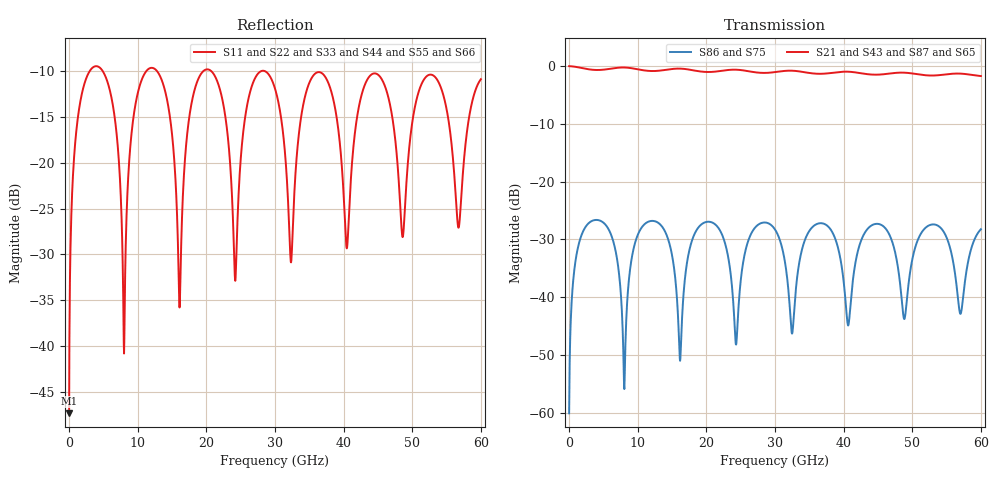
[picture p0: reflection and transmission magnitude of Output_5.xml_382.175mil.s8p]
# Hz S ri R 50
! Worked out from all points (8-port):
!   1500 points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, 40 MHz to 60 GHz, reference 50 ohm
!   strongest paths, dB at 40 MHz, 15.04 GHz, 30.04 GHz, 45.04 GHz, 60 GHz:
!     S21: 0.0, -0.5, -1.0, -1.5, -1.7
!     S43: 0.0, -0.5, -1.0, -1.5, -1.7
!     S87: 0.0, -0.5, -1.0, -1.5, -1.7
!     S65: 0.0, -0.5, -1.0, -1.5, -1.7
!     S86: -60.1, -32.8, -28.3, -27.3, -28.2
!     S75: -60.1, -32.8, -28.3, -27.3, -28.2
!   lowest |S11| = -47.4 dB at 40 MHz (marker M1), VSWR 1.01, Z = 50 - j0.427 ohm
!   |S11| at or under -10 dB: 12.87 GHz to 19.55 GHz (6.677 GHz wide, 41.2 % of centre); 20.77 GHz to 27.94 GHz (7.161 GHz wide, 29.4 % of centre); 28.61 GHz to end of sweep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
